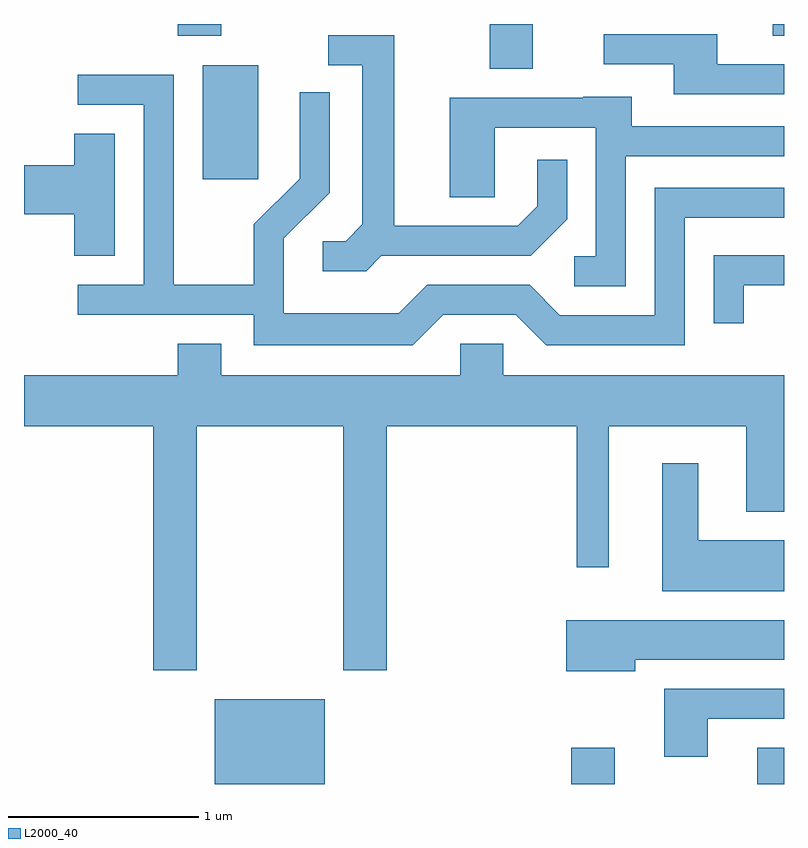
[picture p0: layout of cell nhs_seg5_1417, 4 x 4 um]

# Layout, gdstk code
import gdstk
lib = gdstk.Library(unit=1e-6, precision=1e-09)
def R(c, l, rs):  # rectangles x0, y0, x1, y1
    for r in rs: c.add(gdstk.rectangle(r[:2], r[2:], *l))
def P(c, l, *ps):  # polygons
    for p in ps: c.add(gdstk.Polygon(p, *l))
L2000_40 = (2000, 40)

nhs_seg5_1417 = lib.new_cell('nhs_seg5_1417')
R(nhs_seg5_1417, L2000_40, [(228.616,1406.072,229.194,1406.519), (230.491,1406.072,230.719,1406.264), (231.471,1406.072,231.611,1406.264), (228.551,1409.256,228.844,1409.854), (230.061,1409.836,230.289,1410.072), (228.421,1410.011,228.649,1410.072), (231.551,1410.011,231.611,1410.072)])
P(nhs_seg5_1417, L2000_40, [(231.611,1409.859),(231.259,1409.859),(231.259,1410.019),(230.663,1410.019),(230.663,1409.861),(231.031,1409.861),(231.031,1409.701),(231.611,1409.701)],
  [(229.492,1408.851),(230.277,1408.851),(230.469,1409.044),(230.469,1409.358),(230.311,1409.358),(230.311,1409.112),(230.209,1409.009),(229.559,1409.009),(229.559,1410.014),(229.213,1410.014),(229.213,1409.856),(229.391,1409.856),(229.391,1409.017),(229.304,1408.929),(229.183,1408.929),(229.183,1408.771),(229.412,1408.771)],
  [(229.817,1408.541),(230.199,1408.541),(230.359,1408.381),(231.089,1408.381),(231.089,1409.051),(231.611,1409.051),(231.611,1409.209),(230.931,1409.209),(230.931,1408.539),(230.432,1408.539),(230.272,1408.699),(229.734,1408.699),(229.584,1408.549),(228.979,1408.549),(228.979,1408.944),(229.219,1409.184),(229.219,1409.713),(229.061,1409.713),(229.061,1409.257),(228.821,1409.017),(228.821,1408.699),(228.399,1408.699),(228.399,1409.804),(227.893,1409.804),(227.893,1409.646),(228.241,1409.646),(228.241,1408.699),(227.893,1408.699),(227.893,1408.541),(228.821,1408.541),(228.821,1408.381),(229.657,1408.381)],
  [(230.779,1409.376),(231.611,1409.376),(231.611,1409.534),(230.809,1409.534),(230.809,1409.689),(230.555,1409.689),(230.555,1409.684),(229.851,1409.684),(229.851,1409.161),(230.089,1409.161),(230.089,1409.526),(230.621,1409.526),(230.621,1408.849),(230.508,1408.849),(230.508,1408.691),(230.779,1408.691)],
  [(228.089,1409.494),(227.876,1409.494),(227.876,1409.329),(227.611,1409.329),(227.611,1409.071),(227.876,1409.071),(227.876,1408.851),(228.089,1408.851)],
  [(231.399,1408.696),(231.611,1408.696),(231.611,1408.854),(231.241,1408.854),(231.241,1408.498),(231.399,1408.498)],
  [(228.519,1407.956),(229.291,1407.956),(229.291,1406.671),(229.519,1406.671),(229.519,1407.956),(230.521,1407.956),(230.521,1407.213),(230.689,1407.213),(230.689,1407.956),(231.411,1407.956),(231.411,1407.506),(231.611,1407.506),(231.611,1408.224),(230.134,1408.224),(230.134,1408.389),(229.906,1408.389),(229.906,1408.224),(228.649,1408.224),(228.649,1408.389),(228.421,1408.389),(228.421,1408.224),(227.611,1408.224),(227.611,1407.956),(228.291,1407.956),(228.291,1406.671),(228.519,1406.671)],
  [(231.611,1407.354),(231.159,1407.354),(231.159,1407.759),(230.971,1407.759),(230.971,1407.086),(231.611,1407.086)],
  [(230.829,1406.726),(231.611,1406.726),(231.611,1406.934),(230.466,1406.934),(230.466,1406.666),(230.829,1406.666)],
  [(231.209,1406.416),(231.611,1406.416),(231.611,1406.574),(230.981,1406.574),(230.981,1406.216),(231.209,1406.216)])

lib.write_gds('nhs_seg5_1417.gds')
